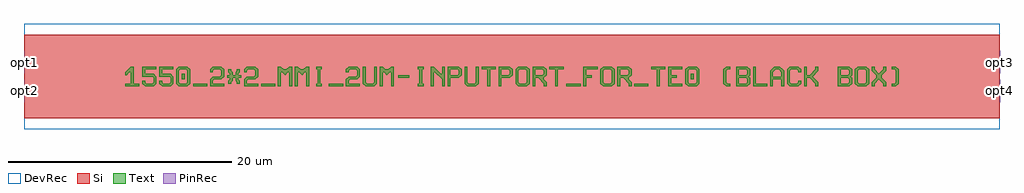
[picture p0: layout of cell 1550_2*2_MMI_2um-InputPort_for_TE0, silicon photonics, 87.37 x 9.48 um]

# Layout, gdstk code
import gdstk
lib = gdstk.Library(unit=1e-6, precision=1e-09)
def R(c, l, rs):  # rectangles x0, y0, x1, y1
    for r in rs: c.add(gdstk.rectangle(r[:2], r[2:], *l))
def A(c, l, x, y, w, h, nx, ny, dx, dy):  # array of equal rectangles
    R(c, l, [(x+i*dx, y+j*dy, x+i*dx+w, y+j*dy+h) for i in range(nx) for j in range(ny)])
def P(c, l, *ps):  # polygons
    for p in ps: c.add(gdstk.Polygon(p, *l))
Si = (1, 0)
PinRec = (1, 10)
Text = (10, 0)
DevRec = (68, 0)

text = lib.new_cell('TEXT')
A(text, Text, 6.076, 0, 1.266, 0.253, 3, 1, 6.076, 0)
R(text, Text, [(39.494,0,40.76,0.253), (45.57,0,46.836,0.253), (5.063,0.633,5.317,1.139), (50.633,0.633,50.887,1.139), (24.431,0.76,25.443,1.013)])
P(text, Text, [(0,0),(0,0.253),(0.506,0.253),(0.506,1.266),(0.38,1.266),(0.127,1.013),(0,1.013),(0,1.266),(0.506,1.772),(0.76,1.772),(0.76,0.253),(1.266,0.253),(1.266,0)],
  [(1.772,0),(1.519,0.253),(1.519,0.506),(1.772,0.506),(1.772,0.38),(1.899,0.253),(2.405,0.253),(2.532,0.38),(2.532,0.76),(2.405,0.886),(1.519,0.886),(1.519,1.772),(2.785,1.772),(2.785,1.519),(1.772,1.519),(1.772,1.139),(2.532,1.139),(2.785,0.886),(2.785,0.253),(2.532,0)],
  [(3.291,0),(3.038,0.253),(3.038,0.506),(3.291,0.506),(3.291,0.38),(3.418,0.253),(3.924,0.253),(4.051,0.38),(4.051,0.76),(3.924,0.886),(3.038,0.886),(3.038,1.772),(4.304,1.772),(4.304,1.519),(3.291,1.519),(3.291,1.139),(4.051,1.139),(4.304,0.886),(4.304,0.253),(4.051,0)],
  [(4.81,0),(4.557,0.253),(4.557,1.519),(4.81,1.772),(5.57,1.772),(5.823,1.519),(4.937,1.519),(4.81,1.392),(4.81,0.38),(4.937,0.253),(5.443,0.253),(5.57,0.38),(5.57,1.392),(5.443,1.519),(5.823,1.519),(5.823,0.253),(5.57,0)],
  [(7.595,0),(7.595,0.633),(7.848,0.886),(8.481,0.886),(8.608,1.013),(8.608,1.392),(8.481,1.519),(7.975,1.519),(7.848,1.392),(7.848,1.266),(7.595,1.266),(7.595,1.519),(7.848,1.772),(8.608,1.772),(8.861,1.519),(8.861,0.886),(8.608,0.633),(7.975,0.633),(7.848,0.506),(7.848,0.253),(8.861,0.253),(8.861,0)],
  [(9.241,0.253),(9.241,0.506),(9.367,0.633),(9.367,0.76),(9.114,0.76),(9.114,1.013),(9.367,1.013),(9.367,1.139),(9.241,1.266),(9.241,1.519),(9.494,1.519),(9.494,1.392),(9.62,1.266),(9.62,1.013),(9.874,1.013),(9.874,1.266),(10,1.392),(10,1.519),(10.253,1.519),(10.253,1.266),(10.127,1.139),(10.127,1.013),(10.38,1.013),(10.38,0.76),(10.127,0.76),(10.127,0.633),(10.253,0.506),(10.253,0.253),(10,0.253),(10,0.38),(9.874,0.506),(9.874,0.76),(9.62,0.76),(9.62,0.506),(9.494,0.38),(9.494,0.253)],
  [(10.633,0),(10.633,0.633),(10.886,0.886),(11.519,0.886),(11.646,1.013),(11.646,1.392),(11.519,1.519),(11.013,1.519),(10.886,1.392),(10.886,1.266),(10.633,1.266),(10.633,1.519),(10.886,1.772),(11.646,1.772),(11.899,1.519),(11.899,0.886),(11.646,0.633),(11.013,0.633),(10.886,0.506),(10.886,0.253),(11.899,0.253),(11.899,0)],
  [(13.671,0),(13.671,1.772),(13.924,1.772),(14.177,1.519),(14.431,1.519),(14.684,1.772),(14.937,1.772),(14.937,0),(14.684,0),(14.684,1.266),(14.557,1.266),(14.304,1.013),(14.051,1.266),(13.924,1.266),(13.924,0)],
  [(15.19,0),(15.19,1.772),(15.443,1.772),(15.696,1.519),(15.95,1.519),(16.203,1.772),(16.456,1.772),(16.456,0),(16.203,0),(16.203,1.266),(16.076,1.266),(15.823,1.013),(15.57,1.266),(15.443,1.266),(15.443,0)],
  [(17.089,0),(17.089,0.253),(17.215,0.253),(17.215,1.519),(17.089,1.519),(17.089,1.772),(17.595,1.772),(17.595,1.519),(17.469,1.519),(17.469,0.253),(17.595,0.253),(17.595,0)],
  [(19.747,0),(19.747,0.633),(20,0.886),(20.633,0.886),(20.76,1.013),(20.76,1.392),(20.633,1.519),(20.127,1.519),(20,1.392),(20,1.266),(19.747,1.266),(19.747,1.519),(20,1.772),(20.76,1.772),(21.013,1.519),(21.013,0.886),(20.76,0.633),(20.127,0.633),(20,0.506),(20,0.253),(21.013,0.253),(21.013,0)],
  [(21.519,0),(21.266,0.253),(21.266,1.772),(21.519,1.772),(21.519,0.38),(21.646,0.253),(22.152,0.253),(22.279,0.38),(22.279,1.772),(22.532,1.772),(22.532,0.253),(22.279,0)],
  [(22.785,0),(22.785,1.772),(23.038,1.772),(23.291,1.519),(23.545,1.519),(23.798,1.772),(24.051,1.772),(24.051,0),(23.798,0),(23.798,1.266),(23.671,1.266),(23.418,1.013),(23.165,1.266),(23.038,1.266),(23.038,0)],
  [(26.203,0),(26.203,0.253),(26.329,0.253),(26.329,1.519),(26.203,1.519),(26.203,1.772),(26.709,1.772),(26.709,1.519),(26.583,1.519),(26.583,0.253),(26.709,0.253),(26.709,0)],
  [(27.342,0),(27.342,1.772),(27.595,1.772),(28.228,1.139),(28.355,1.139),(28.355,1.772),(28.608,1.772),(28.608,0),(28.355,0),(28.355,0.633),(27.722,1.266),(27.595,1.266),(27.595,0)],
  [(28.861,0),(28.861,1.772),(29.874,1.772),(30.127,1.519),(30.127,1.013),(29.874,0.76),(29.114,0.76),(29.114,1.013),(29.747,1.013),(29.874,1.139),(29.874,1.392),(29.747,1.519),(29.114,1.519),(29.114,0)],
  [(30.633,0),(30.38,0.253),(30.38,1.772),(30.633,1.772),(30.633,0.38),(30.76,0.253),(31.266,0.253),(31.393,0.38),(31.393,1.772),(31.646,1.772),(31.646,0.253),(31.393,0)],
  [(32.405,0),(32.405,1.519),(31.899,1.519),(31.899,1.772),(33.165,1.772),(33.165,1.519),(32.659,1.519),(32.659,0)],
  [(33.418,0),(33.418,1.772),(34.431,1.772),(34.684,1.519),(34.684,1.013),(34.431,0.76),(33.671,0.76),(33.671,1.013),(34.304,1.013),(34.431,1.139),(34.431,1.392),(34.304,1.519),(33.671,1.519),(33.671,0)],
  [(35.19,0),(34.937,0.253),(34.937,1.519),(35.19,1.772),(35.95,1.772),(36.203,1.519),(36.203,0.886),(35.95,0.886),(35.95,1.392),(35.823,1.519),(35.317,1.519),(35.19,1.392),(35.19,0.38),(35.317,0.253),(35.823,0.253),(35.95,0.38),(35.95,0.886),(36.203,0.886),(36.203,0.253),(35.95,0)],
  [(36.456,0),(36.456,1.772),(37.469,1.772),(37.722,1.519),(36.709,1.519),(36.709,1.013),(37.342,1.013),(37.469,1.139),(37.469,1.392),(37.342,1.519),(37.722,1.519),(37.722,1.013),(37.469,0.76),(37.469,0.633),(37.722,0.38),(37.722,0),(37.469,0),(37.469,0.253),(36.962,0.76),(36.709,0.76),(36.709,0)],
  [(38.481,0),(38.481,1.519),(37.975,1.519),(37.975,1.772),(39.241,1.772),(39.241,1.519),(38.735,1.519),(38.735,0)],
  [(41.013,0),(41.013,1.772),(42.279,1.772),(42.279,1.519),(41.266,1.519),(41.266,1.013),(41.773,1.013),(41.773,0.76),(41.266,0.76),(41.266,0)],
  [(42.785,0),(42.532,0.253),(42.532,1.519),(42.785,1.772),(43.545,1.772),(43.798,1.519),(43.798,0.886),(43.545,0.886),(43.545,1.392),(43.418,1.519),(42.912,1.519),(42.785,1.392),(42.785,0.38),(42.912,0.253),(43.418,0.253),(43.545,0.38),(43.545,0.886),(43.798,0.886),(43.798,0.253),(43.545,0)],
  [(44.051,0),(44.051,1.772),(45.064,1.772),(45.317,1.519),(44.304,1.519),(44.304,1.013),(44.937,1.013),(45.064,1.139),(45.064,1.392),(44.937,1.519),(45.317,1.519),(45.317,1.013),(45.064,0.76),(45.064,0.633),(45.317,0.38),(45.317,0),(45.064,0),(45.064,0.253),(44.557,0.76),(44.304,0.76),(44.304,0)],
  [(47.595,0),(47.595,1.519),(47.089,1.519),(47.089,1.772),(48.355,1.772),(48.355,1.519),(47.849,1.519),(47.849,0)],
  [(48.608,0),(48.608,1.772),(49.874,1.772),(49.874,1.519),(48.861,1.519),(48.861,1.013),(49.368,1.013),(49.368,0.76),(48.861,0.76),(48.861,0.253),(49.874,0.253),(49.874,0)],
  [(50.38,0),(50.127,0.253),(50.127,1.519),(50.38,1.772),(51.14,1.772),(51.393,1.519),(50.507,1.519),(50.38,1.392),(50.38,0.38),(50.507,0.253),(51.013,0.253),(51.14,0.38),(51.14,1.392),(51.013,1.519),(51.393,1.519),(51.393,0.253),(51.14,0)],
  [(53.798,0),(53.545,0.253),(53.545,1.519),(53.798,1.772),(54.178,1.772),(54.178,1.519),(53.925,1.519),(53.798,1.392),(53.798,0.38),(53.925,0.253),(54.178,0.253),(54.178,0)],
  [(54.684,0),(54.684,1.772),(55.697,1.772),(55.95,1.519),(54.937,1.519),(54.937,1.013),(55.57,1.013),(55.697,1.139),(55.697,1.392),(55.57,1.519),(55.95,1.519),(55.95,1.013),(55.823,0.886),(55.95,0.76),(54.937,0.76),(54.937,0.253),(55.57,0.253),(55.697,0.38),(55.697,0.633),(55.57,0.76),(55.95,0.76),(55.95,0.253),(55.697,0)],
  [(56.203,0),(56.203,1.772),(56.456,1.772),(56.456,0.253),(57.469,0.253),(57.469,0)],
  [(57.722,0),(57.722,1.392),(58.102,1.772),(58.608,1.772),(58.861,1.519),(58.228,1.519),(57.975,1.266),(57.975,0.886),(58.735,0.886),(58.735,1.266),(58.482,1.519),(58.861,1.519),(58.988,1.392),(58.988,0),(58.735,0),(58.735,0.633),(57.975,0.633),(57.975,0)],
  [(59.494,0),(59.241,0.253),(59.241,1.519),(59.494,1.772),(60.254,1.772),(60.507,1.519),(60.507,1.266),(60.254,1.266),(60.254,1.392),(60.127,1.519),(59.621,1.519),(59.494,1.392),(59.494,0.38),(59.621,0.253),(60.127,0.253),(60.254,0.38),(60.254,0.506),(60.507,0.506),(60.507,0.253),(60.254,0)],
  [(60.76,0),(60.76,1.772),(61.013,1.772),(61.013,1.013),(61.266,1.013),(61.773,1.519),(61.773,1.772),(62.026,1.772),(62.026,1.392),(61.52,0.886),(62.026,0.38),(62.026,0),(61.773,0),(61.773,0.253),(61.266,0.76),(61.013,0.76),(61.013,0)],
  [(63.798,0),(63.798,1.772),(64.811,1.772),(65.064,1.519),(64.051,1.519),(64.051,1.013),(64.684,1.013),(64.811,1.139),(64.811,1.392),(64.684,1.519),(65.064,1.519),(65.064,1.013),(64.937,0.886),(65.064,0.76),(64.051,0.76),(64.051,0.253),(64.684,0.253),(64.811,0.38),(64.811,0.633),(64.684,0.76),(65.064,0.76),(65.064,0.253),(64.811,0)],
  [(65.57,0),(65.317,0.253),(65.317,1.519),(65.57,1.772),(66.33,1.772),(66.583,1.519),(66.583,0.886),(66.33,0.886),(66.33,1.392),(66.203,1.519),(65.697,1.519),(65.57,1.392),(65.57,0.38),(65.697,0.253),(66.203,0.253),(66.33,0.38),(66.33,0.886),(66.583,0.886),(66.583,0.253),(66.33,0)],
  [(66.836,0),(66.836,0.38),(67.216,0.76),(67.216,1.013),(66.836,1.392),(66.836,1.772),(67.089,1.772),(67.089,1.519),(67.469,1.139),(67.849,1.519),(67.849,1.772),(68.102,1.772),(68.102,1.392),(67.722,1.013),(67.722,0.76),(68.102,0.38),(68.102,0),(67.849,0),(67.849,0.253),(67.469,0.633),(67.089,0.253),(67.089,0)],
  [(68.608,0),(68.608,0.253),(68.861,0.253),(68.988,0.38),(68.988,1.392),(68.861,1.519),(68.608,1.519),(68.608,1.772),(68.988,1.772),(69.241,1.519),(69.241,0.253),(68.988,0)])

c_1550_2_2_mmi_2um_inputpo = lib.new_cell('1550_2*2_MMI_2um-InputPort_for_TE0')
R(c_1550_2_2_mmi_2um_inputpo, Si, [(-43.673,-3.74,43.673,3.74)])
R(c_1550_2_2_mmi_2um_inputpo, DevRec, [(-43.673,-4.74,43.673,4.74)])
c_1550_2_2_mmi_2um_inputpo.add(gdstk.FlexPath([(-43.663,1.294),(-43.683,1.294)], 2, ends="flush", simple_path=True, layer=1, datatype=10))  # PinRec
c_1550_2_2_mmi_2um_inputpo.add(gdstk.FlexPath([(-43.663,-1.294),(-43.683,-1.294)], 2, ends="flush", simple_path=True, layer=1, datatype=10))  # PinRec
c_1550_2_2_mmi_2um_inputpo.add(gdstk.FlexPath([(43.663,1.294),(43.683,1.294)], 2, ends="flush", simple_path=True, layer=1, datatype=10))  # PinRec
c_1550_2_2_mmi_2um_inputpo.add(gdstk.FlexPath([(43.663,-1.294),(43.683,-1.294)], 2, ends="flush", simple_path=True, layer=1, datatype=10))  # PinRec
c_1550_2_2_mmi_2um_inputpo.add(gdstk.Reference(text, (-34.62,-0.886)))
c_1550_2_2_mmi_2um_inputpo.add(gdstk.Label('opt1', (-43.673,1.294), layer=1, texttype=10))
c_1550_2_2_mmi_2um_inputpo.add(gdstk.Label('opt2', (-43.673,-1.294), layer=1, texttype=10))
c_1550_2_2_mmi_2um_inputpo.add(gdstk.Label('opt3', (43.673,1.294), layer=1, texttype=10))
c_1550_2_2_mmi_2um_inputpo.add(gdstk.Label('opt4', (43.673,-1.294), layer=1, texttype=10))

lib.write_gds('1550_2_2_MMI_2um-InputPort_for_TE0.gds')
